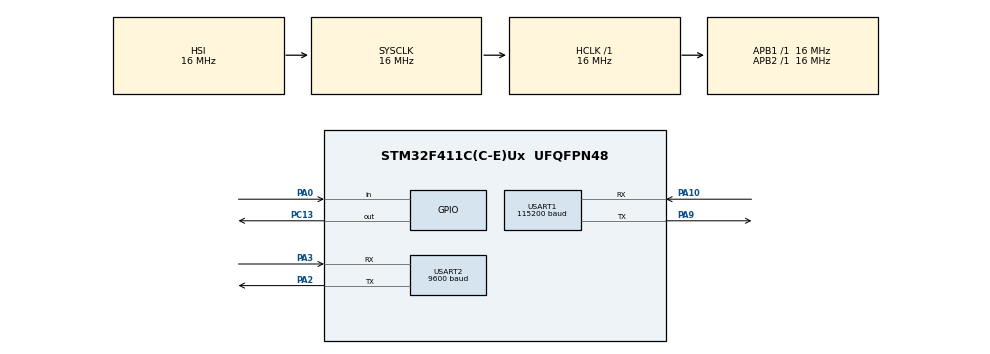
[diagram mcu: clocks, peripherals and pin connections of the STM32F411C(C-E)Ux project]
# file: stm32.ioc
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Mcu.Family=STM32F4
Mcu.Name=STM32F411C(C-E)Ux
Mcu.Package=UFQFPN48
NVIC.PriorityGroup=NVIC_PRIORITYGROUP_4
NVIC.USART2_IRQn=true\:0\:0\:false\:false\:true\:true\:true\:true
PA0-WKUP.GPIO_PuPd=GPIO_PULLUP
PA0-WKUP.Signal=GPIO_Input
PA10.Mode=Asynchronous
PA10.Signal=USART1_RX
PA2.Mode=Asynchronous
PA2.Signal=USART2_TX
PA3.Mode=Asynchronous
PA3.Signal=USART2_RX
PA9.Mode=Asynchronous
PA9.Signal=USART1_TX
PC13-ANTI_TAMP.Signal=GPIO_Output
ProjectManager.HeapSize=0x200
ProjectManager.StackSize=0x400
ProjectManager.TargetToolchain=STM32CubeIDE
RCC.AHBFreq_Value=16000000
RCC.APB1Freq_Value=16000000
RCC.APB2Freq_Value=16000000
RCC.CortexFreq_Value=16000000
RCC.HSE_VALUE=25000000
RCC.HSI_VALUE=16000000
RCC.LSE_VALUE=32768
RCC.SYSCLKFreq_VALUE=16000000
RCC.VCOOutputFreq_Value=192000000
USART1.BaudRate=115200
USART1.VirtualMode=VM_ASYNC
USART2.BaudRate=9600
USART2.VirtualMode=VM_ASYNC
board=custom

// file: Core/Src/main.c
/* USER CODE BEGIN Header */
/**
  ******************************************************************************
  * @file           : main.c
  * @brief          : Main program body
  ******************************************************************************
  * @attention
  *
  * Copyright (c) 2026 STMicroelectronics.
  * All rights reserved.
  *
  * This software is licensed under terms that can be found in the LICENSE file
  * in the root directory of this software component.
  * If no LICENSE file comes with this software, it is provided AS-IS.
  *
  ******************************************************************************
  */
/* USER CODE END Header */
#include "main.h"

/* USER CODE BEGIN Includes */
#include <string.h>
#include <stdio.h>
#include <stdarg.h>
/* USER CODE END Includes */

UART_HandleTypeDef huart1;
UART_HandleTypeDef huart2;

/* USER CODE BEGIN PV */
#define RB_SIZE 64
#define DEBOUNCE_DELAY 100
static volatile uint8_t  rb[RB_SIZE];
static volatile uint16_t rb_head = 0;
static volatile uint16_t rb_tail = 0;
static uint8_t           rx_byte;

static volatile uint32_t link_errors = 0;
static volatile uint32_t rb_overflow = 0;

static char    line[32];
static uint8_t line_len = 0;

static char next_command[5] = "ON\n";
/* USER CODE END PV */

void SystemClock_Config(void);
static void MX_GPIO_Init(void);
static void MX_USART2_UART_Init(void);
static void MX_USART1_UART_Init(void);

/* USER CODE BEGIN 0 */
static void log_printf(const char *fmt, ...)
{
  char buf[96];
  va_list ap;
  va_start(ap, fmt);
  int n = vsnprintf(buf, sizeof buf, fmt, ap);
  va_end(ap);
  if (n <= 0) return;
  if (n > (int)sizeof buf - 1) n = sizeof buf - 1;
  HAL_UART_Transmit(&huart1, (uint8_t *)buf, (uint16_t)n, 50);
}

static void link_send(const char *s)
{
  HAL_UART_Transmit(&huart2, (uint8_t *)s, (uint16_t)strlen(s), 50);
}

static void led_set(int on)
{
  HAL_GPIO_WritePin(GPIOC, GPIO_PIN_13, on ? GPIO_PIN_RESET : GPIO_PIN_SET);
}

void HAL_UART_RxCpltCallback(UART_HandleTypeDef *huart)
{
  if (huart->Instance == USART2) {
    uint16_t next = (rb_head + 1) % RB_SIZE;
    if (next != rb_tail) {
      rb[rb_head] = rx_byte;
      rb_head = next;
    } else {
      rb_overflow++;
    }
    HAL_UART_Receive_IT(&huart2, &rx_byte, 1);
  }
}

void HAL_UART_ErrorCallback(UART_HandleTypeDef *huart)
{
  if (huart->Instance == USART2) {
    link_errors++;
    __HAL_UART_CLEAR_OREFLAG(huart);
    HAL_UART_Receive_IT(&huart2, &rx_byte, 1);
  }
}

static void handle_input(const char *cmd)
{
  if (strcmp(cmd, "ON") == 0) {
    led_set(1);
    link_send("ACK ON\n");
    log_printf("[STM] RX 'ON'  -> LED ON\r\n");
  } else if (strcmp(cmd, "OFF") == 0) {
    led_set(0);
    link_send("ACK OFF\n");
    log_printf("[STM] RX 'OFF' -> LED OFF\r\n");
  } else if (cmd[0] != '\0') {
    link_send("ERR\n");
    log_printf("[STM] unknown cmd: '%s'\r\n", cmd);
  }
}
/* USER CODE END 0 */

int main(void)
{

  /* MCU Configuration--------------------------------------------------------*/

  /* Reset of all peripherals, Initializes the Flash interface and the Systick. */
  HAL_Init();

  /* Configure the system clock */
  SystemClock_Config();

  /* Initialize all configured peripherals */
  MX_GPIO_Init();
  MX_USART2_UART_Init();
  MX_USART1_UART_Init();
  /* USER CODE BEGIN 2 */
  led_set(0);
  log_printf("\r\n[STM] boot. link USART2 9600 8N1 (PA2/PA3), log USART1 115200\r\n");
  HAL_UART_Receive_IT(&huart2, &rx_byte, 1);
  uint32_t last_errors = 0;
  /* USER CODE END 2 */

  /* Infinite loop */
  /* USER CODE BEGIN WHILE */
  while (1)
  {
	  while (rb_tail != rb_head) {
	  	        char c = (char)rb[rb_tail];
	  	        rb_tail = (rb_tail + 1) % RB_SIZE;

	  	        if (c == '\r') continue;
	  	        if (c == '\n') {
	  	          line[line_len] = '\0';
	  	          handle_input(line);
	  	          line_len = 0;
	  	        } else if (line_len < sizeof(line) - 1) {
	  	          line[line_len++] = c;
	  	        } else {
	  	          line_len = 0;
	  	        }
	  	      }

	  	      if (link_errors != last_errors) {
	  	        last_errors = link_errors;
	  	        log_printf("[STM] UART error #%lu (baud/parity mismatch? noise?)\r\n",
	  	                   (unsigned long)last_errors);
	  	      }

	  	      if(HAL_GPIO_ReadPin(GPIOA, GPIO_PIN_0) == GPIO_PIN_RESET) {
	  	    	  HAL_Delay(DEBOUNCE_DELAY);
	  	    	if(HAL_GPIO_ReadPin(GPIOA, GPIO_PIN_0) == GPIO_PIN_RESET) {
	  	    		link_send(next_command);
	  	    		strcmp(next_command, "ON\n") == 0  ? strcpy(next_command, "OFF\n") : strcpy(next_command, "ON\n");
	  	    	}
	  	      }
    /* USER CODE END WHILE */

  }
}

void SystemClock_Config(void)
{
  RCC_OscInitTypeDef RCC_OscInitStruct = {0};
  RCC_ClkInitTypeDef RCC_ClkInitStruct = {0};

  /** Configure the main internal regulator output voltage
  */
  __HAL_RCC_PWR_CLK_ENABLE();
  __HAL_PWR_VOLTAGESCALING_CONFIG(PWR_REGULATOR_VOLTAGE_SCALE1);

  /** Initializes the RCC Oscillators according to the specified parameters
  * in the RCC_OscInitTypeDef structure.
  */
  RCC_OscInitStruct.OscillatorType = RCC_OSCILLATORTYPE_HSI;
  RCC_OscInitStruct.HSIState = RCC_HSI_ON;
  RCC_OscInitStruct.HSICalibrationValue = RCC_HSICALIBRATION_DEFAULT;
  RCC_OscInitStruct.PLL.PLLState = RCC_PLL_NONE;
  if (HAL_RCC_OscConfig(&RCC_OscInitStruct) != HAL_OK)
  {
    Error_Handler();
  }

  /** Initializes the CPU, AHB and APB buses clocks
  */
  RCC_ClkInitStruct.ClockType = RCC_CLOCKTYPE_HCLK|RCC_CLOCKTYPE_SYSCLK
                              |RCC_CLOCKTYPE_PCLK1|RCC_CLOCKTYPE_PCLK2;
  RCC_ClkInitStruct.SYSCLKSource = RCC_SYSCLKSOURCE_HSI;
  RCC_ClkInitStruct.AHBCLKDivider = RCC_SYSCLK_DIV1;
  RCC_ClkInitStruct.APB1CLKDivider = RCC_HCLK_DIV1;
  RCC_ClkInitStruct.APB2CLKDivider = RCC_HCLK_DIV1;

  if (HAL_RCC_ClockConfig(&RCC_ClkInitStruct, FLASH_LATENCY_0) != HAL_OK)
  {
    Error_Handler();
  }
}

static void MX_USART1_UART_Init(void)
{

  huart1.Instance = USART1;
  huart1.Init.BaudRate = 115200;
  huart1.Init.WordLength = UART_WORDLENGTH_8B;
  huart1.Init.StopBits = UART_STOPBITS_1;
  huart1.Init.Parity = UART_PARITY_NONE;
  huart1.Init.Mode = UART_MODE_TX_RX;
  huart1.Init.HwFlowCtl = UART_HWCONTROL_NONE;
  huart1.Init.OverSampling = UART_OVERSAMPLING_16;
  if (HAL_UART_Init(&huart1) != HAL_OK)
  {
    Error_Handler();
  }

}

static void MX_USART2_UART_Init(void)
{

  huart2.Instance = USART2;
  huart2.Init.BaudRate = 9600;
  huart2.Init.WordLength = UART_WORDLENGTH_8B;
  huart2.Init.StopBits = UART_STOPBITS_1;
  huart2.Init.Parity = UART_PARITY_NONE;
  huart2.Init.Mode = UART_MODE_TX_RX;
  huart2.Init.HwFlowCtl = UART_HWCONTROL_NONE;
  huart2.Init.OverSampling = UART_OVERSAMPLING_16;
  if (HAL_UART_Init(&huart2) != HAL_OK)
  {
    Error_Handler();
  }

}

static void MX_GPIO_Init(void)
{
  GPIO_InitTypeDef GPIO_InitStruct = {0};

  /* GPIO Ports Clock Enable */
  __HAL_RCC_GPIOC_CLK_ENABLE();
  __HAL_RCC_GPIOA_CLK_ENABLE();

  /*Configure GPIO pin Output Level */
  HAL_GPIO_WritePin(GPIOC, GPIO_PIN_13, GPIO_PIN_RESET);

  /*Configure GPIO pin : PC13 */
  GPIO_InitStruct.Pin = GPIO_PIN_13;
  GPIO_InitStruct.Mode = GPIO_MODE_OUTPUT_PP;
  GPIO_InitStruct.Pull = GPIO_NOPULL;
  GPIO_InitStruct.Speed = GPIO_SPEED_FREQ_LOW;
  HAL_GPIO_Init(GPIOC, &GPIO_InitStruct);

  /*Configure GPIO pin : PA0 */
  GPIO_InitStruct.Pin = GPIO_PIN_0;
  GPIO_InitStruct.Mode = GPIO_MODE_INPUT;
  GPIO_InitStruct.Pull = GPIO_PULLUP;
  HAL_GPIO_Init(GPIOA, &GPIO_InitStruct);

}

void Error_Handler(void)
{
  __disable_irq();
  while (1)
  {
  }
}
